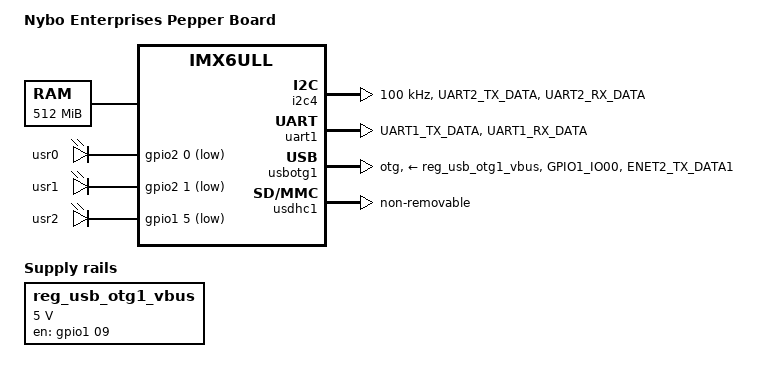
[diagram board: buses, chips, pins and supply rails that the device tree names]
// SPDX-License-Identifier: GPL-2.0+
/*
 * Copyright (C) 2017-2019 SoMLabs
 * Copyright (C) 2016 Freescale Semiconductor, Inc.
 */

/dts-v1/;

#include <dt-bindings/input/input.h>
#include "imx6ull.dtsi"

/ {
	model = "Nybo Enterprises Pepper Board";
	compatible = "fsl,imx6ull-14x14-evk", "fsl,imx6ull";

	chosen {
		stdout-path = &uart1;
	};

	memory {
		reg = <0x80000000 0x20000000>;
	};

	leds {
		compatible = "gpio-leds";

		usr0 {
			label = "usr0";
			gpios = <&gpio2 0 GPIO_ACTIVE_LOW>;
			linux,default-trigger = "heartbeat";
		};

		usr1 {
			label = "usr1";
			gpios = <&gpio2 1 GPIO_ACTIVE_LOW>;
			linux,default-trigger = "mmc0";
		};

		usr2 {
			label = "usr2";
			gpios = <&gpio1 5 GPIO_ACTIVE_LOW>;
			linux,default-trigger = "mmc1";
		};
	};


	regulators {
		compatible = "simple-bus";
		#address-cells = <1>;
		#size-cells = <0>;

		reg_usb_otg1_vbus: regulator@2 {
			compatible = "regulator-fixed";
			reg = <2>;
			pinctrl-names = "default";
			pinctrl-0 = <&pinctrl_usb_otg1>;
			regulator-name = "usb_otg1_vbus";
			regulator-min-microvolt = <5000000>;
			regulator-max-microvolt = <5000000>;
			gpio = <&gpio1 09 GPIO_ACTIVE_HIGH>;
			enable-active-high;
		};

	};
};

&cpu0 {
	arm-supply = <&reg_arm>;
	soc-supply = <&reg_soc>;
};

&clks {
	assigned-clocks = <&clks IMX6UL_CLK_PLL4_AUDIO_DIV>;
	assigned-clock-rates = <786432000>;
};



&gpc {
	fsl,cpu_pupscr_sw2iso = <0x1>;
	fsl,cpu_pupscr_sw = <0x0>;
	fsl,cpu_pdnscr_iso2sw = <0x1>;
	fsl,cpu_pdnscr_iso = <0x1>;
	fsl,ldo-bypass = <0>; /* DCDC, ldo-enable */
};

&i2c4 {
	clock-frequency = <100000>;
	pinctrl-names = "default";
	pinctrl-0 = <&pinctrl_i2c4>;

};



&iomuxc {
	pinctrl-names = "default";
	pinctrl-0 = <&pinctrl_hog_1>;

	pinctrl_hog_1: hoggrp-1 {
		fsl,pins = <
			MX6UL_PAD_ENET1_RX_DATA0__GPIO2_IO00		0x17099
			MX6UL_PAD_ENET1_RX_DATA1__GPIO2_IO01		0x17099
			MX6UL_PAD_GPIO1_IO05__GPIO1_IO05		0x17099
		>;
	};



	pinctrl_i2c4: i2c4grp {
		fsl,pins = <
			MX6UL_PAD_UART2_TX_DATA__I2C4_SCL	0x4001b8b0
			MX6UL_PAD_UART2_RX_DATA__I2C4_SDA	0x4001b8b0
		>;
	};





	pinctrl_uart1: uart1grp {
		fsl,pins = <
			MX6UL_PAD_UART1_TX_DATA__UART1_DCE_TX	0x1b0b1
			MX6UL_PAD_UART1_RX_DATA__UART1_DCE_RX	0x1b0b1
		>;
	};

	pinctrl_usdhc1: usdhc1grp {
		fsl,pins = <
			MX6UL_PAD_SD1_CMD__USDHC1_CMD		0x17059
			MX6UL_PAD_SD1_CLK__USDHC1_CLK		0x10071
			MX6UL_PAD_SD1_DATA0__USDHC1_DATA0	0x17059
			MX6UL_PAD_SD1_DATA1__USDHC1_DATA1	0x17059
			MX6UL_PAD_SD1_DATA2__USDHC1_DATA2	0x17059
			MX6UL_PAD_SD1_DATA3__USDHC1_DATA3	0x17059
		>;
	};



	pinctrl_usb_otg1: usbotg1grp {
		fsl,pins = <
			MX6UL_PAD_GPIO1_IO00__ANATOP_OTG1_ID	0x17059
			MX6UL_PAD_ENET2_TX_DATA1__GPIO2_IO12	0x10b0
		>;
	};


};



&uart1 {
	pinctrl-names = "default";
	pinctrl-0 = <&pinctrl_uart1>;
	status = "okay";
};

&usbotg1 {
	vbus-supply = <&reg_usb_otg1_vbus>;
	pinctrl-names = "default";
	pinctrl-0 = <&pinctrl_usb_otg1>;
	dr_mode = "otg";
	srp-disable;
	hnp-disable;
	adp-disable;
	status = "okay";
};




&usdhc1 {
	non-removable;
	disable-wp;
	status = "okay";
};


